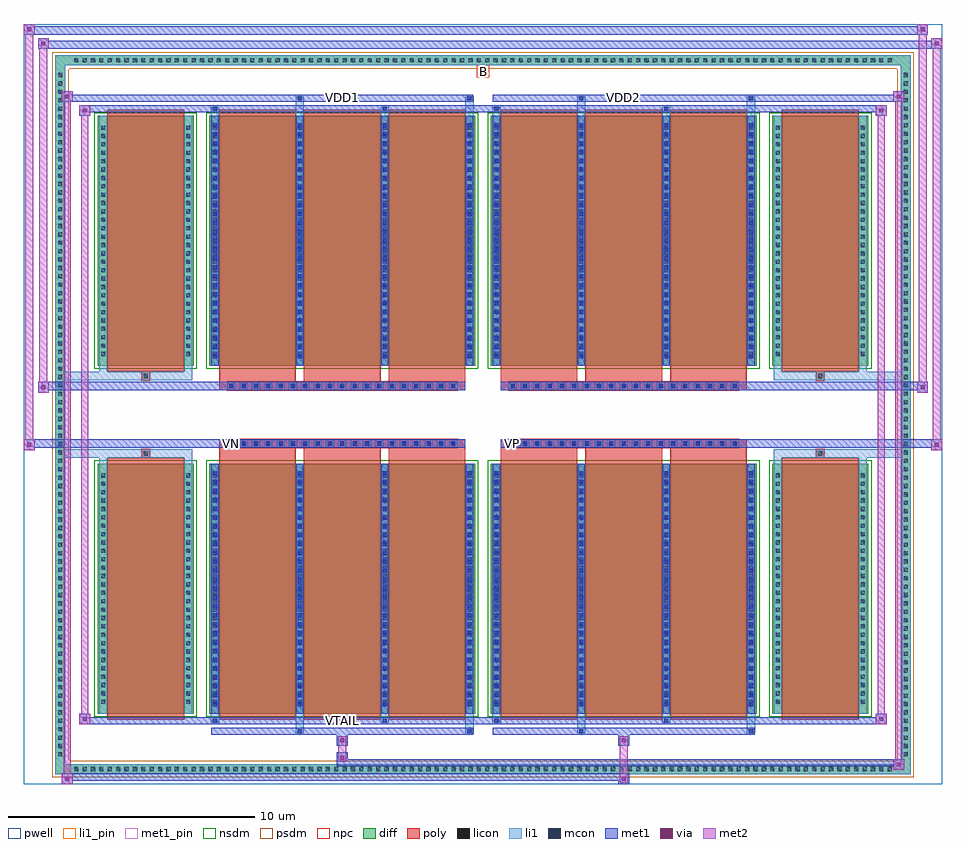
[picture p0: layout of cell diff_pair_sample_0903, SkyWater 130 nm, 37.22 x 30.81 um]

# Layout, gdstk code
import gdstk
lib = gdstk.Library(unit=1e-6, precision=5e-09)
def R(c, l, rs):  # rectangles x0, y0, x1, y1
    for r in rs: c.add(gdstk.rectangle(r[:2], r[2:], *l))
def A(c, l, x, y, w, h, nx, ny, dx, dy):  # array of equal rectangles
    R(c, l, [(x+i*dx, y+j*dy, x+i*dx+w, y+j*dy+h) for i in range(nx) for j in range(ny)])
def P(c, l, *ps):  # polygons
    for p in ps: c.add(gdstk.Polygon(p, *l))
pwell = (64, 44)
diff = (65, 20)
poly = (66, 20)
licon = (66, 44)
li1_pin = (67, 16)
li1 = (67, 20)
mcon = (67, 44)
met1_pin = (68, 16)
met1 = (68, 20)
via = (68, 44)
met2 = (69, 20)
nsdm = (93, 44)
psdm = (94, 20)
npc = (95, 20)

diff_pair_sample_0903 = lib.new_cell('diff_pair_sample_0903')
R(diff_pair_sample_0903, pwell, [(-18.61,-14.97,18.61,15.84), (-15.93,-13.16,-0.01,-0.8), (0.01,-13.16,15.93,-0.8), (-15.93,0.8,-0.01,13.16), (0.01,0.8,15.93,13.16)])
A(diff_pair_sample_0903, diff, -16.695, -14.57, 0.41, 0.41, 98, 2, 0.34, 28.73)
A(diff_pair_sample_0903, diff, -17.34, -13.975, 0.41, 0.41, 1, 82, 0, 0.34)
A(diff_pair_sample_0903, diff, 16.93, -13.975, 0.41, 0.41, 1, 82, 0, 0.34)
R(diff_pair_sample_0903, diff, [(-16.695,-14.57,16.695,-14.16), (-17.34,-13.975,-16.93,13.975), (16.93,-13.975,17.34,13.975), (-15.62,-12.115,-11.73,-1.985), (-11.09,-12.115,-0.32,-1.985), (0.32,-12.115,11.09,-1.985), (11.73,-12.115,15.62,-1.985), (-15.62,1.985,-11.73,12.115), (-11.09,1.985,-0.32,12.115), (0.32,1.985,11.09,12.115), (11.73,1.985,15.62,12.115), (-16.695,14.16,16.695,14.57)])
P(diff_pair_sample_0903, diff, [(17.34,14.57),(-17.34,14.57),(-17.34,-14.16),(-16.93,-14.16),(-16.93,14.16),(16.93,14.16),(16.93,-14.16),(-16.93,-14.16),(-17.34,-14.16),(-17.34,-14.57),(17.34,-14.57)])
A(diff_pair_sample_0903, poly, -10.7, -12.365, 3.11, 10.63, 3, 2, 3.44, 14.1)
A(diff_pair_sample_0903, poly, 0.71, -12.365, 3.11, 10.63, 3, 2, 3.44, 14.1)
A(diff_pair_sample_0903, poly, -10.7, -1.735, 3.11, 0.405, 3, 2, 3.44, 3.065)
A(diff_pair_sample_0903, poly, 0.71, -1.735, 3.11, 0.405, 3, 2, 3.44, 3.065)
A(diff_pair_sample_0903, poly, -10.37, -1.33, 0.33, 0.33, 19, 2, 0.5, 2.33)
A(diff_pair_sample_0903, poly, 1.04, -1.33, 0.33, 0.33, 19, 2, 0.5, 2.33)
R(diff_pair_sample_0903, poly, [(-15.23,-12.365,-12.12,-1.735), (12.12,-12.365,15.23,-1.735), (-13.84,-1.735,-13.51,-1.405), (-13.84,-1.735,-13.51,-1.405), (13.51,-1.735,13.84,-1.405), (13.51,-1.735,13.84,-1.405), (-10.7,-1.33,-0.71,-1), (0.71,-1.33,10.7,-1), (-10.7,1,-0.71,1.33), (0.71,1,10.7,1.33), (-13.84,1.405,-13.51,1.735), (-13.84,1.405,-13.51,1.735), (13.51,1.405,13.84,1.735), (13.51,1.405,13.84,1.735), (-15.23,1.735,-12.12,12.365), (12.12,1.735,15.23,12.365)])
A(diff_pair_sample_0903, licon, -16.575, -14.45, 0.17, 0.17, 98, 2, 0.34, 28.73)
A(diff_pair_sample_0903, licon, -17.22, -13.855, 0.17, 0.17, 1, 82, 0, 0.34)
A(diff_pair_sample_0903, licon, 17.05, -13.855, 0.17, 0.17, 1, 82, 0, 0.34)
A(diff_pair_sample_0903, licon, -15.48, -11.725, 0.17, 0.17, 1, 28, 0, 0.34)
A(diff_pair_sample_0903, licon, -12.04, -11.725, 0.17, 0.17, 1, 28, 0, 0.34)
A(diff_pair_sample_0903, licon, -10.95, -11.725, 0.17, 0.17, 4, 28, 3.44, 0.34)
A(diff_pair_sample_0903, licon, 0.46, -11.725, 0.17, 0.17, 4, 28, 3.44, 0.34)
A(diff_pair_sample_0903, licon, 11.87, -11.725, 0.17, 0.17, 1, 28, 0, 0.34)
A(diff_pair_sample_0903, licon, 15.31, -11.725, 0.17, 0.17, 1, 28, 0, 0.34)
A(diff_pair_sample_0903, licon, -10.29, -1.25, 0.17, 0.17, 19, 2, 0.5, 2.33)
A(diff_pair_sample_0903, licon, 1.12, -1.25, 0.17, 0.17, 19, 2, 0.5, 2.33)
A(diff_pair_sample_0903, licon, -15.48, 2.375, 0.17, 0.17, 1, 28, 0, 0.34)
A(diff_pair_sample_0903, licon, -12.04, 2.375, 0.17, 0.17, 1, 28, 0, 0.34)
A(diff_pair_sample_0903, licon, -10.95, 2.375, 0.17, 0.17, 4, 28, 3.44, 0.34)
A(diff_pair_sample_0903, licon, 0.46, 2.375, 0.17, 0.17, 4, 28, 3.44, 0.34)
A(diff_pair_sample_0903, licon, 11.87, 2.375, 0.17, 0.17, 1, 28, 0, 0.34)
A(diff_pair_sample_0903, licon, 15.31, 2.375, 0.17, 0.17, 1, 28, 0, 0.34)
R(diff_pair_sample_0903, licon, [(-13.76,-1.655,-13.59,-1.485), (13.59,-1.655,13.76,-1.485), (-13.76,1.485,-13.59,1.655), (13.59,1.485,13.76,1.655)])
R(diff_pair_sample_0903, li1_pin, [(-0.25,13.66,0.25,14.16)])
A(diff_pair_sample_0903, li1, -16.655, -14.53, 0.33, 0.33, 98, 2, 0.34, 28.73)
A(diff_pair_sample_0903, li1, -17.3, -13.935, 0.33, 0.33, 1, 82, 0, 0.34)
A(diff_pair_sample_0903, li1, 16.97, -13.935, 0.33, 0.33, 1, 82, 0, 0.34)
A(diff_pair_sample_0903, li1, -11.03, -12.115, 0.33, 10.13, 4, 2, 3.44, 14.1)
A(diff_pair_sample_0903, li1, 0.38, -12.115, 0.33, 10.13, 4, 2, 3.44, 14.1)
A(diff_pair_sample_0903, li1, -10.95, -11.815, 0.17, 0.17, 4, 27, 3.44, 0.36)
A(diff_pair_sample_0903, li1, -10.95, -11.815, 0.17, 9.53, 4, 2, 3.44, 14.1)
A(diff_pair_sample_0903, li1, 0.46, -11.815, 0.17, 0.17, 4, 27, 3.44, 0.36)
A(diff_pair_sample_0903, li1, 0.46, -11.815, 0.17, 9.53, 4, 2, 3.44, 14.1)
A(diff_pair_sample_0903, li1, -15.56, -11.805, 0.33, 0.33, 1, 28, 0, 0.34)
A(diff_pair_sample_0903, li1, -12.12, -11.805, 0.33, 0.33, 1, 28, 0, 0.34)
A(diff_pair_sample_0903, li1, -11.03, -11.805, 0.33, 0.33, 4, 28, 3.44, 0.34)
A(diff_pair_sample_0903, li1, 0.38, -11.805, 0.33, 0.33, 4, 28, 3.44, 0.34)
A(diff_pair_sample_0903, li1, 11.79, -11.805, 0.33, 0.33, 1, 28, 0, 0.34)
A(diff_pair_sample_0903, li1, 15.23, -11.805, 0.33, 0.33, 1, 28, 0, 0.34)
A(diff_pair_sample_0903, li1, -10.37, -1.33, 0.33, 0.33, 19, 2, 0.5, 2.33)
A(diff_pair_sample_0903, li1, 1.04, -1.33, 0.33, 0.33, 19, 2, 0.5, 2.33)
A(diff_pair_sample_0903, li1, -10.95, 2.285, 0.17, 0.17, 4, 27, 3.44, 0.36)
A(diff_pair_sample_0903, li1, 0.46, 2.285, 0.17, 0.17, 4, 27, 3.44, 0.36)
A(diff_pair_sample_0903, li1, -15.56, 2.295, 0.33, 0.33, 1, 28, 0, 0.34)
A(diff_pair_sample_0903, li1, -12.12, 2.295, 0.33, 0.33, 1, 28, 0, 0.34)
A(diff_pair_sample_0903, li1, -11.03, 2.295, 0.33, 0.33, 4, 28, 3.44, 0.34)
A(diff_pair_sample_0903, li1, 0.38, 2.295, 0.33, 0.33, 4, 28, 3.44, 0.34)
A(diff_pair_sample_0903, li1, 11.79, 2.295, 0.33, 0.33, 1, 28, 0, 0.34)
A(diff_pair_sample_0903, li1, 15.23, 2.295, 0.33, 0.33, 1, 28, 0, 0.34)
R(diff_pair_sample_0903, li1, [(-17.34,-14.57,-16.93,-14.16), (-17.34,-14.57,-16.93,-14.16), (-16.93,-14.57,16.93,-14.16), (16.93,-14.57,17.34,-14.16), (16.93,-14.57,17.34,-14.16), (-17.34,-14.16,-16.93,14.16), (16.93,-14.16,17.34,14.16), (-7.59,-12.92,-7.26,-12.115), (-7.51,-12.92,-7.34,-12.75), (-0.71,-12.92,-0.38,-12.115), (-0.63,-12.92,-0.46,-12.75), (3.82,-12.92,4.15,-12.115), (3.9,-12.92,4.07,-12.75), (10.7,-12.92,11.03,-12.115), (10.78,-12.92,10.95,-12.75), (-11.03,-12.49,-10.7,-12.115), (-10.95,-12.49,-10.78,-12.32), (-4.15,-12.49,-3.82,-12.115), (-4.07,-12.49,-3.9,-12.32), (0.38,-12.49,0.71,-12.115), (0.46,-12.49,0.63,-12.32), (7.26,-12.49,7.59,-12.115), (7.34,-12.49,7.51,-12.32), (-15.56,-12.115,-15.23,-1.985), (-12.12,-12.115,-11.79,-1.985), (11.79,-12.115,12.12,-1.985), (15.23,-12.115,15.56,-1.985), (-15.56,-1.985,-15.23,-1.405), (-12.12,-1.985,-11.79,-1.405), (11.79,-1.985,12.12,-1.405), (15.23,-1.985,15.56,-1.405), (-17.34,-1.735,-13.84,-1.405), (-15.56,-1.735,-13.84,-1.405), (-13.84,-1.735,-13.51,-1.405), (-13.51,-1.735,-11.79,-1.405), (11.79,-1.735,13.51,-1.405), (13.51,-1.735,13.84,-1.405), (13.51,-1.735,17.34,-1.405), (13.84,-1.735,15.56,-1.405), (-17.34,1.405,-13.84,1.735), (-15.56,1.405,-13.84,1.735), (-15.56,1.405,-15.23,1.985), (-13.84,1.405,-13.51,1.735), (-13.51,1.405,-11.79,1.735), (-12.12,1.405,-11.79,1.985), (11.79,1.405,13.51,1.735), (11.79,1.405,12.12,1.985), (13.51,1.405,13.84,1.735), (13.51,1.405,17.34,1.735), (13.84,1.405,15.56,1.735), (15.23,1.405,15.56,1.985), (-15.56,1.985,-15.23,12.115), (-12.12,1.985,-11.79,12.115), (11.79,1.985,12.12,12.115), (15.23,1.985,15.56,12.115), (-11.03,12.115,-10.7,12.49), (-7.59,12.115,-7.26,12.92), (-4.15,12.115,-3.82,12.49), (-0.71,12.115,-0.38,12.92), (0.38,12.115,0.71,12.49), (3.82,12.115,4.15,12.92), (7.26,12.115,7.59,12.49), (10.7,12.115,11.03,12.92), (-10.95,12.32,-10.78,12.49), (-4.07,12.32,-3.9,12.49), (0.46,12.32,0.63,12.49), (7.34,12.32,7.51,12.49), (-7.51,12.75,-7.34,12.92), (-0.63,12.75,-0.46,12.92), (3.9,12.75,4.07,12.92), (10.78,12.75,10.95,12.92), (-17.34,14.16,-16.93,14.57), (-17.34,14.16,-16.93,14.57), (-16.93,14.16,16.93,14.57), (16.93,14.16,17.34,14.57), (16.93,14.16,17.34,14.57)])
A(diff_pair_sample_0903, mcon, -10.95, -11.815, 0.17, 0.17, 4, 27, 3.44, 0.36)
A(diff_pair_sample_0903, mcon, 0.46, -11.815, 0.17, 0.17, 4, 27, 3.44, 0.36)
A(diff_pair_sample_0903, mcon, -10.29, -1.25, 0.17, 0.17, 19, 2, 0.5, 2.33)
A(diff_pair_sample_0903, mcon, 1.12, -1.25, 0.17, 0.17, 19, 2, 0.5, 2.33)
A(diff_pair_sample_0903, mcon, -10.95, 2.285, 0.17, 0.17, 4, 27, 3.44, 0.36)
A(diff_pair_sample_0903, mcon, 0.46, 2.285, 0.17, 0.17, 4, 27, 3.44, 0.36)
R(diff_pair_sample_0903, mcon, [(-7.51,-12.92,-7.34,-12.75), (-0.63,-12.92,-0.46,-12.75), (3.9,-12.92,4.07,-12.75), (10.78,-12.92,10.95,-12.75), (-10.95,-12.49,-10.78,-12.32), (-4.07,-12.49,-3.9,-12.32), (0.46,-12.49,0.63,-12.32), (7.34,-12.49,7.51,-12.32), (-10.95,12.32,-10.78,12.49), (-4.07,12.32,-3.9,12.49), (0.46,12.32,0.63,12.49), (7.34,12.32,7.51,12.49), (-7.51,12.75,-7.34,12.92), (-0.63,12.75,-0.46,12.92), (3.9,12.75,4.07,12.92), (10.78,12.75,10.95,12.92)])
R(diff_pair_sample_0903, met1_pin, [(-5.84,-12.53,-5.57,-12.26), (-10.34,-1.29,-10.07,-1.02), (1.07,-1.29,1.34,-1.02), (-5.84,12.71,-5.57,12.98), (5.57,12.71,5.84,12.98)])
A(diff_pair_sample_0903, met1, -11.01, -12.115, 0.29, 10.13, 4, 2, 3.44, 14.1)
A(diff_pair_sample_0903, met1, 0.4, -12.115, 0.29, 10.13, 4, 2, 3.44, 14.1)
A(diff_pair_sample_0903, met1, -11.01, -11.875, 0.29, 0.29, 4, 27, 3.44, 0.36)
A(diff_pair_sample_0903, met1, 0.4, -11.875, 0.29, 0.29, 4, 27, 3.44, 0.36)
A(diff_pair_sample_0903, met1, -10.35, -1.31, 0.29, 0.29, 19, 2, 0.5, 2.33)
A(diff_pair_sample_0903, met1, 1.06, -1.31, 0.29, 0.29, 19, 2, 0.5, 2.33)
A(diff_pair_sample_0903, met1, -11.01, 2.225, 0.29, 0.29, 4, 27, 3.44, 0.36)
A(diff_pair_sample_0903, met1, 0.4, 2.225, 0.29, 0.29, 4, 27, 3.44, 0.36)
R(diff_pair_sample_0903, met1, [(-17.07,-14.97,-16.64,-14.54), (5.49,-14.97,5.92,-14.54), (-17.07,-14.83,5.92,-14.54), (16.64,-14.4,17.07,-13.97), (-5.92,-14.26,17.07,-13.97), (-5.92,-14.12,-5.49,-13.69), (-5.92,-13.41,-5.49,-12.98), (5.49,-13.41,5.92,-12.98), (-11.01,-12.98,-0.4,-12.69), (-7.57,-12.98,-7.28,-12.69), (-0.69,-12.98,-0.4,-12.69), (0.4,-12.98,11.01,-12.69), (3.84,-12.98,4.13,-12.69), (10.72,-12.98,11.01,-12.69), (-16.36,-12.55,-15.93,-12.12), (-16.36,-12.55,-11.01,-12.26), (-11.01,-12.55,-10.72,-12.26), (-11.01,-12.55,-0.4,-12.26), (-4.13,-12.55,-3.84,-12.26), (-0.4,-12.55,0.4,-12.26), (0.4,-12.55,0.69,-12.26), (0.4,-12.55,11.01,-12.26), (7.28,-12.55,7.57,-12.26), (11.01,-12.55,16.36,-12.26), (15.93,-12.55,16.36,-12.12), (-18.61,-1.43,-18.18,-1), (18.18,-1.43,18.61,-1), (-18.61,-1.33,-0.71,-1), (-10.7,-1.33,-0.71,-1), (0.71,-1.33,10.7,-1), (0.71,-1.33,18.61,-1), (-18.04,0.9,-17.61,1.33), (17.61,0.9,18.04,1.33), (-18.04,1,-10.7,1.33), (-10.7,1,-0.71,1.33), (0.71,1,10.7,1.33), (10.7,1,18.04,1.33), (-16.36,12.12,-15.93,12.55), (15.93,12.12,16.36,12.55), (-16.36,12.26,-11.01,12.55), (-11.01,12.26,-10.72,12.55), (-11.01,12.26,-0.4,12.55), (-4.13,12.26,-3.84,12.55), (-0.4,12.26,0.4,12.55), (0.4,12.26,0.69,12.55), (0.4,12.26,11.01,12.55), (7.28,12.26,7.57,12.55), (11.01,12.26,16.36,12.55), (-17.07,12.69,-16.64,13.12), (-17.07,12.69,-11.01,12.98), (-11.01,12.69,-0.4,12.98), (-7.57,12.69,-7.28,12.98), (-0.69,12.69,-0.4,12.98), (0.4,12.69,11.01,12.98), (3.84,12.69,4.13,12.98), (10.72,12.69,11.01,12.98), (11.01,12.69,17.07,12.98), (16.64,12.69,17.07,13.12), (-18.04,14.84,-17.61,15.27), (-18.04,14.84,-15.93,15.17), (-15.93,14.84,15.93,15.17), (15.93,14.84,18.61,15.17), (18.18,14.84,18.61,15.27), (-18.61,15.41,-18.18,15.84), (-18.61,15.41,-15.93,15.74), (-15.93,15.41,15.93,15.74), (15.93,15.41,18.04,15.74), (17.61,15.41,18.04,15.84)])
R(diff_pair_sample_0903, via, [(-16.93,-14.83,-16.78,-14.68), (5.63,-14.83,5.78,-14.68), (16.78,-14.26,16.93,-14.11), (-5.78,-13.98,-5.63,-13.83), (-5.78,-13.27,-5.63,-13.12), (5.63,-13.27,5.78,-13.12), (-16.22,-12.41,-16.07,-12.26), (16.07,-12.41,16.22,-12.26), (-18.47,-1.29,-18.32,-1.14), (18.32,-1.29,18.47,-1.14), (-17.9,1.04,-17.75,1.19), (17.75,1.04,17.9,1.19), (-16.22,12.26,-16.07,12.41), (16.07,12.26,16.22,12.41), (-16.93,12.83,-16.78,12.98), (16.78,12.83,16.93,12.98), (-17.9,14.98,-17.75,15.13), (18.32,14.98,18.47,15.13), (-18.47,15.55,-18.32,15.7), (17.75,15.55,17.9,15.7)])
R(diff_pair_sample_0903, met2, [(-17.07,-14.97,-16.64,-14.54), (-17,-14.97,-16.71,13.12), (-16.71,-14.97,-16.64,-14.54), (-17.02,-14.92,-16.69,-14.59), (5.54,-14.92,5.87,-14.59), (5.54,-14.59,5.87,-13.36), (16.64,-14.4,17.07,-13.97), (16.71,-14.4,17,13.12), (17,-14.4,17.07,-13.97), (16.69,-14.35,17.02,-14.02), (-5.87,-14.07,-5.54,-13.74), (-5.87,-13.74,-5.54,-13.36), (-5.87,-13.36,-5.54,-13.03), (5.54,-13.36,5.87,-13.03), (-16.36,-12.55,-15.93,-12.12), (-16.29,-12.55,-16,12.55), (-16,-12.55,-15.93,-12.12), (15.93,-12.55,16.36,-12.12), (16,-12.55,16.29,12.55), (16.29,-12.55,16.36,-12.12), (-16.31,-12.5,-15.98,-12.17), (15.98,-12.5,16.31,-12.17), (-18.61,-1.43,-18.18,-1), (-18.56,-1.43,-18.23,15.84), (-18.23,-1.43,-18.18,-1), (18.18,-1.43,18.61,-1), (18.23,-1.43,18.56,15.27), (18.56,-1.43,18.61,-1), (-18.56,-1.38,-18.23,-1.05), (18.23,-1.38,18.56,-1.05), (-18.04,0.9,-17.61,1.33), (-17.99,0.9,-17.66,15.27), (-17.66,0.9,-17.61,1.33), (17.61,0.9,18.04,1.33), (17.66,0.9,17.99,15.84), (17.99,0.9,18.04,1.33), (-17.99,0.95,-17.66,1.28), (17.66,0.95,17.99,1.28), (-16.36,12.12,-15.93,12.55), (-16,12.12,-15.93,12.55), (15.93,12.12,16.36,12.55), (16.29,12.12,16.36,12.55), (-16.31,12.17,-15.98,12.5), (15.98,12.17,16.31,12.5), (-17.07,12.69,-16.64,13.12), (-16.71,12.69,-16.64,13.12), (16.64,12.69,17.07,13.12), (17,12.69,17.07,13.12), (-17.02,12.74,-16.69,13.07), (16.69,12.74,17.02,13.07), (-18.04,14.84,-17.61,15.27), (-17.66,14.84,-17.61,15.27), (18.18,14.84,18.61,15.27), (18.56,14.84,18.61,15.27), (-17.99,14.89,-17.66,15.22), (18.23,14.89,18.56,15.22), (-18.61,15.41,-18.18,15.84), (-18.23,15.41,-18.18,15.84), (17.61,15.41,18.04,15.84), (17.99,15.41,18.04,15.84), (-18.56,15.46,-18.23,15.79), (17.66,15.46,17.99,15.79)])
R(diff_pair_sample_0903, nsdm, [(-15.75,-12.245,-11.6,-1.855), (-11.22,-12.245,-0.19,-1.855), (0.19,-12.245,11.22,-1.855), (11.6,-12.245,15.75,-1.855), (-15.75,1.855,-11.6,12.245), (-11.22,1.855,-0.19,12.245), (0.19,1.855,11.22,12.245), (11.6,1.855,15.75,12.245)])
P(diff_pair_sample_0903, psdm, [(17.47,14.7),(-17.47,14.7),(-17.47,-14.03),(-16.8,-14.03),(-16.8,14.03),(16.8,14.03),(16.8,-14.03),(-16.8,-14.03),(-17.47,-14.03),(-17.47,-14.7),(17.47,-14.7)])
A(diff_pair_sample_0903, npc, -10.39, -1.35, 0.37, 0.37, 19, 2, 0.5, 2.33)
A(diff_pair_sample_0903, npc, 1.02, -1.35, 0.37, 0.37, 19, 2, 0.5, 2.33)
R(diff_pair_sample_0903, npc, [(-13.86,-1.755,-13.49,-1.385), (13.49,-1.755,13.86,-1.385), (-10.39,-1.35,-9.52,-0.98), (-10.39,-1.35,-9.52,-0.98), (-9.89,-1.35,-9.02,-0.98), (-9.89,-1.35,-9.02,-0.98), (-9.39,-1.35,-8.52,-0.98), (-9.39,-1.35,-8.52,-0.98), (-8.89,-1.35,-8.02,-0.98), (-8.89,-1.35,-8.02,-0.98), (-8.39,-1.35,-7.52,-0.98), (-8.39,-1.35,-7.52,-0.98), (-7.89,-1.35,-7.02,-0.98), (-7.89,-1.35,-7.02,-0.98), (-7.39,-1.35,-6.52,-0.98), (-7.39,-1.35,-6.52,-0.98), (-6.89,-1.35,-6.02,-0.98), (-6.89,-1.35,-6.02,-0.98), (-6.39,-1.35,-5.52,-0.98), (-6.39,-1.35,-5.52,-0.98), (-5.89,-1.35,-5.02,-0.98), (-5.89,-1.35,-5.02,-0.98), (-5.39,-1.35,-4.52,-0.98), (-5.39,-1.35,-4.52,-0.98), (-4.89,-1.35,-4.02,-0.98), (-4.89,-1.35,-4.02,-0.98), (-4.39,-1.35,-3.52,-0.98), (-4.39,-1.35,-3.52,-0.98), (-3.89,-1.35,-3.02,-0.98), (-3.89,-1.35,-3.02,-0.98), (-3.39,-1.35,-2.52,-0.98), (-3.39,-1.35,-2.52,-0.98), (-2.89,-1.35,-2.02,-0.98), (-2.89,-1.35,-2.02,-0.98), (-2.39,-1.35,-1.52,-0.98), (-2.39,-1.35,-1.52,-0.98), (-1.89,-1.35,-1.02,-0.98), (-1.89,-1.35,-1.02,-0.98), (1.02,-1.35,1.89,-0.98), (1.02,-1.35,1.89,-0.98), (1.52,-1.35,2.39,-0.98), (1.52,-1.35,2.39,-0.98), (2.02,-1.35,2.89,-0.98), (2.02,-1.35,2.89,-0.98), (2.52,-1.35,3.39,-0.98), (2.52,-1.35,3.39,-0.98), (3.02,-1.35,3.89,-0.98), (3.02,-1.35,3.89,-0.98), (3.52,-1.35,4.39,-0.98), (3.52,-1.35,4.39,-0.98), (4.02,-1.35,4.89,-0.98), (4.02,-1.35,4.89,-0.98), (4.52,-1.35,5.39,-0.98), (4.52,-1.35,5.39,-0.98), (5.02,-1.35,5.89,-0.98), (5.02,-1.35,5.89,-0.98), (5.52,-1.35,6.39,-0.98), (5.52,-1.35,6.39,-0.98), (6.02,-1.35,6.89,-0.98), (6.02,-1.35,6.89,-0.98), (6.52,-1.35,7.39,-0.98), (6.52,-1.35,7.39,-0.98), (7.02,-1.35,7.89,-0.98), (7.02,-1.35,7.89,-0.98), (7.52,-1.35,8.39,-0.98), (7.52,-1.35,8.39,-0.98), (8.02,-1.35,8.89,-0.98), (8.02,-1.35,8.89,-0.98), (8.52,-1.35,9.39,-0.98), (8.52,-1.35,9.39,-0.98), (9.02,-1.35,9.89,-0.98), (9.02,-1.35,9.89,-0.98), (9.52,-1.35,10.39,-0.98), (9.52,-1.35,10.39,-0.98), (-10.39,0.98,-9.52,1.35), (-10.39,0.98,-9.52,1.35), (-9.89,0.98,-9.02,1.35), (-9.89,0.98,-9.02,1.35), (-9.39,0.98,-8.52,1.35), (-9.39,0.98,-8.52,1.35), (-8.89,0.98,-8.02,1.35), (-8.89,0.98,-8.02,1.35), (-8.39,0.98,-7.52,1.35), (-8.39,0.98,-7.52,1.35), (-7.89,0.98,-7.02,1.35), (-7.89,0.98,-7.02,1.35), (-7.39,0.98,-6.52,1.35), (-7.39,0.98,-6.52,1.35), (-6.89,0.98,-6.02,1.35), (-6.89,0.98,-6.02,1.35), (-6.39,0.98,-5.52,1.35), (-6.39,0.98,-5.52,1.35), (-5.89,0.98,-5.02,1.35), (-5.89,0.98,-5.02,1.35), (-5.39,0.98,-4.52,1.35), (-5.39,0.98,-4.52,1.35), (-4.89,0.98,-4.02,1.35), (-4.89,0.98,-4.02,1.35), (-4.39,0.98,-3.52,1.35), (-4.39,0.98,-3.52,1.35), (-3.89,0.98,-3.02,1.35), (-3.89,0.98,-3.02,1.35), (-3.39,0.98,-2.52,1.35), (-3.39,0.98,-2.52,1.35), (-2.89,0.98,-2.02,1.35), (-2.89,0.98,-2.02,1.35), (-2.39,0.98,-1.52,1.35), (-2.39,0.98,-1.52,1.35), (-1.89,0.98,-1.02,1.35), (-1.89,0.98,-1.02,1.35), (1.02,0.98,1.89,1.35), (1.02,0.98,1.89,1.35), (1.52,0.98,2.39,1.35), (1.52,0.98,2.39,1.35), (2.02,0.98,2.89,1.35), (2.02,0.98,2.89,1.35), (2.52,0.98,3.39,1.35), (2.52,0.98,3.39,1.35), (3.02,0.98,3.89,1.35), (3.02,0.98,3.89,1.35), (3.52,0.98,4.39,1.35), (3.52,0.98,4.39,1.35), (4.02,0.98,4.89,1.35), (4.02,0.98,4.89,1.35), (4.52,0.98,5.39,1.35), (4.52,0.98,5.39,1.35), (5.02,0.98,5.89,1.35), (5.02,0.98,5.89,1.35), (5.52,0.98,6.39,1.35), (5.52,0.98,6.39,1.35), (6.02,0.98,6.89,1.35), (6.02,0.98,6.89,1.35), (6.52,0.98,7.39,1.35), (6.52,0.98,7.39,1.35), (7.02,0.98,7.89,1.35), (7.02,0.98,7.89,1.35), (7.52,0.98,8.39,1.35), (7.52,0.98,8.39,1.35), (8.02,0.98,8.89,1.35), (8.02,0.98,8.89,1.35), (8.52,0.98,9.39,1.35), (8.52,0.98,9.39,1.35), (9.02,0.98,9.89,1.35), (9.02,0.98,9.89,1.35), (9.52,0.98,10.39,1.35), (9.52,0.98,10.39,1.35), (-13.86,1.385,-13.49,1.755), (13.49,1.385,13.86,1.755)])
diff_pair_sample_0903.add(gdstk.Label('VTAIL', (-5.705,-12.395), layer=68, texttype=5))
diff_pair_sample_0903.add(gdstk.Label('VN', (-10.205,-1.155), layer=68, texttype=5))
diff_pair_sample_0903.add(gdstk.Label('VP', (1.205,-1.155), layer=68, texttype=5))
diff_pair_sample_0903.add(gdstk.Label('B', (0,13.91), layer=67, texttype=5))
diff_pair_sample_0903.add(gdstk.Label('VDD2', (5.705,12.845), layer=68, texttype=5))
diff_pair_sample_0903.add(gdstk.Label('VDD1', (-5.705,12.845), layer=68, texttype=5))

lib.write_gds('diff_pair_sample_0903.gds')
